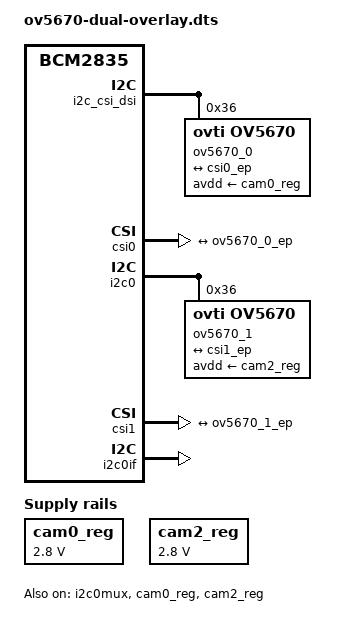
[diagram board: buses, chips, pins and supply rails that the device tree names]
// SPDX-License-Identifier: GPL-2.0-only
// Definitions for OV5670 camera module on VC I2C bus
/dts-v1/;
/plugin/;

/{
	compatible = "brcm,bcm2835";

    fragment@0 {
		target = <&i2c_csi_dsi>;
		__overlay__ {
			#address-cells = <1>;
			#size-cells = <0>;
			status = "okay";

			ov5670_0: ov5670@36 {
				compatible = "ovti,ov5670";
				reg = <0x36>;
				avdd-supply = <&cam0_reg>;
				status = "okay";
				port {
					ov5670_0_ep: endpoint {
						remote-endpoint = <&csi0_ep>;
						clock-lanes = <0>;
						data-lanes = <1 2>;
						clock-noncontinuous;
						link-frequencies =
							/bits/ 64 <297000000>;
					};
				};
			};
		};
	};

	fragment@1 {
		target = <&csi0>;
		__overlay__ {
			status = "okay";

			port {
				csi0_ep: endpoint {
					remote-endpoint = <&ov5670_0_ep>;
					data-lanes = <1 2>;
				};
			};
		};
	};

	fragment@2 {
		target = <&i2c0>;
		__overlay__ {
			#address-cells = <1>;
			#size-cells = <0>;
			status = "okay";

			ov5670_1: ov5670@36 {
				compatible = "ovti,ov5670";
				reg = <0x36>;
				avdd-supply = <&cam2_reg>;
				status = "okay";
				port {
					ov5670_1_ep: endpoint {
						remote-endpoint = <&csi1_ep>;
						clock-lanes = <0>;
						data-lanes = <1 2>;
						clock-noncontinuous;
						link-frequencies =
							/bits/ 64 <297000000>;
					};
				};
			};
		};
	};

	fragment@3 {
		target = <&csi1>;
		__overlay__ {
			status = "okay";

			port {
				csi1_ep: endpoint {
					remote-endpoint = <&ov5670_1_ep>;
					data-lanes = <1 2>;
				};
			};
		};
	};

	fragment@4 {
		target = <&i2c0if>;
		__overlay__ {
			status = "okay";
		};
	};

	fragment@5 {
		target = <&i2c0mux>;
		__overlay__ {
			status = "okay";
		};
	};

	fragment@6 {
		target = <&cam0_reg>;
		__overlay__ {
			status = "okay";
			regulator-name = "ov5670_avdd";
			regulator-min-microvolt = <2800000>;
			regulator-max-microvolt = <2800000>;
		};
	};

	fragment@7 {
		target = <&cam2_reg>;
		__overlay__ {
			status = "okay";
			regulator-name = "ov5670_avdd";
			regulator-min-microvolt = <2800000>;
			regulator-max-microvolt = <2800000>;
		};
	};
};
